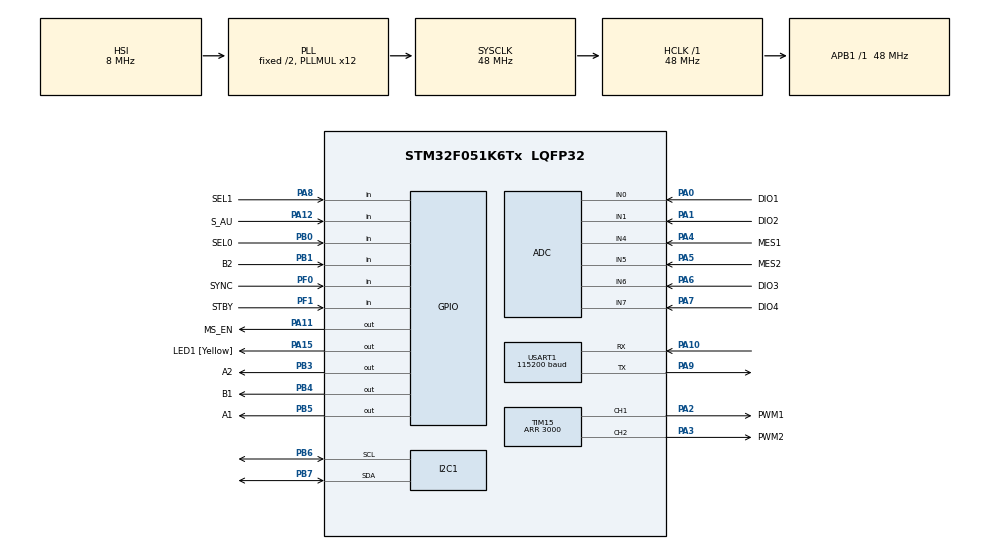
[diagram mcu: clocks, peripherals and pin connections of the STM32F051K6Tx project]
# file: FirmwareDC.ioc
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FREERTOS.INCLUDE_vTaskDelayUntil=1
FREERTOS.Tasks01=defaultTask,0,128,StartDefaultTask,Default,NULL,Dynamic,NULL,NULL;tracesTask,-3,128,StartTracesTask,Default,NULL,Dynamic,NULL,NULL;diagTask,-3,128,StartDiagTask,Default,NULL,Dynamic,NULL,NULL
FREERTOS.configCHECK_FOR_STACK_OVERFLOW=2
I2C1.SMBusOwnAddress=32
Mcu.Family=STM32F0
Mcu.Name=STM32F051K6Tx
Mcu.Package=LQFP32
NVIC.I2C1_IRQn=true\:3\:0\:false\:false\:true\:true\:true
PA0.GPIO_Label=DIO1
PA0.Signal=SharedStack_PA0
PA0.Stacked=true
PA1.GPIO_Label=DIO2
PA1.Signal=SharedStack_PA1
PA1.Stacked=true
PA10.Mode=Asynchronous
PA10.Signal=USART1_RX
PA11.GPIO_Label=MS_EN
PA11.Signal=GPIO_Output
PA12.GPIO_Label=S_AU
PA12.GPIO_PuPd=GPIO_NOPULL
PA12.Signal=GPIO_Input
PA15.GPIO_Label=LED1 [Yellow]
PA15.Signal=GPIO_Output
PA2.GPIO_Label=PWM1
PA2.GPIO_Speed=GPIO_SPEED_FREQ_MEDIUM
PA2.Signal=S_TIM15_CH1
PA3.GPIO_Label=PWM2
PA3.GPIO_Speed=GPIO_SPEED_FREQ_MEDIUM
PA3.Signal=S_TIM15_CH2
PA4.GPIO_Label=MES1
PA4.Mode=IN4
PA4.Signal=ADC_IN4
PA5.GPIO_Label=MES2
PA5.Mode=IN5
PA5.Signal=ADC_IN5
PA6.GPIO_Label=DIO3
PA6.Signal=SharedStack_PA6
PA6.Stacked=true
PA7.GPIO_Label=DIO4
PA7.Signal=SharedStack_PA7
PA7.Stacked=true
PA8.GPIO_Label=SEL1
PA8.Signal=GPIO_Input
PA9.Mode=Asynchronous
PA9.Signal=USART1_TX
PB0.GPIO_Label=SEL0
PB0.Signal=GPIO_Input
PB1.GPIO_Label=B2
PB1.GPIO_PuPd=GPIO_PULLUP
PB1.Signal=GPIO_Input
PB3.GPIO_Label=A2
PB3.Signal=GPIO_Output
PB4.GPIO_Label=B1
PB4.Signal=GPIO_Output
PB5.GPIO_Label=A1
PB5.Signal=GPIO_Output
PB6.Mode=SMBus-two-wire-Interface
PB6.Signal=I2C1_SCL
PB7.Mode=SMBus-two-wire-Interface
PB7.Signal=I2C1_SDA
PF0-OSC_IN.GPIO_Label=SYNC
PF0-OSC_IN.Signal=GPIO_Input
PF1-OSC_OUT.GPIO_Label=STBY
PF1-OSC_OUT.Signal=GPIO_Input
ProjectManager.HeapSize=0x200
ProjectManager.StackSize=0x400
ProjectManager.TargetToolchain=SW4STM32
RCC.AHBFreq_Value=48000000
RCC.APB1Freq_Value=48000000
RCC.APB1TimFreq_Value=48000000
RCC.HCLKFreq_Value=48000000
RCC.PLLMUL=RCC_PLL_MUL12
RCC.SYSCLKFreq_VALUE=48000000
RCC.SYSCLKSource=RCC_SYSCLKSOURCE_PLLCLK
SH.S_TIM15_CH1.0=TIM15_CH1,PWM Generation1 CH1
SH.S_TIM15_CH2.0=TIM15_CH2,PWM Generation2 CH2
SH.SharedStack_PA0.0=GPIO_Input+0
SH.SharedStack_PA0.1=GPIO_Output+0
SH.SharedStack_PA0.2=ADC_IN0,IN0
SH.SharedStack_PA0.3=GPIO_Analog
SH.SharedStack_PA0.4=TIM2_CH1
SH.SharedStack_PA1.0=GPIO_Input+0
SH.SharedStack_PA1.1=GPIO_Output+0
SH.SharedStack_PA1.2=ADC_IN1,IN1
SH.SharedStack_PA1.3=GPIO_Analog
SH.SharedStack_PA1.4=TIM2_CH2
SH.SharedStack_PA6.0=GPIO_Input+0
SH.SharedStack_PA6.1=GPIO_Output+0
SH.SharedStack_PA6.2=ADC_IN6,IN6
SH.SharedStack_PA6.3=GPIO_Analog
SH.SharedStack_PA6.4=TIM3_CH1
SH.SharedStack_PA7.0=GPIO_Input+0
SH.SharedStack_PA7.1=GPIO_Output+0
SH.SharedStack_PA7.2=ADC_IN7,IN7
SH.SharedStack_PA7.3=GPIO_Analog
SH.SharedStack_PA7.4=TIM3_CH2
TIM15.Channel-PWM\ Generation1\ CH1=TIM_CHANNEL_1
TIM15.Channel-PWM\ Generation2\ CH2=TIM_CHANNEL_2
TIM15.Period=3000
USART1.BaudRate=115200
USART1.VirtualMode-Asynchronous=VM_ASYNC
VP_FREERTOS_VS_ENABLE.Mode=Enabled
board=FirmwareDC

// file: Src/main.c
/**
  ******************************************************************************
  * @file           : main.c
  * @brief          : Main program body
  ******************************************************************************
  * This notice applies to any and all portions of this file
  * that are not between comment pairs USER CODE BEGIN and
  * USER CODE END. Other portions of this file, whether
  * inserted by the user or by software development tools
  * are owned by their respective copyright owners.
  *
  * Copyright (c) 2018 STMicroelectronics International N.V.
  * All rights reserved.
  *
  * Redistribution and use in source and binary forms, with or without
  * modification, are permitted, provided that the following conditions are met:
  *
  * 1. Redistribution of source code must retain the above copyright notice,
  *    this list of conditions and the following disclaimer.
  * 2. Redistributions in binary form must reproduce the above copyright notice,
  *    this list of conditions and the following disclaimer in the documentation
  *    and/or other materials provided with the distribution.
  * 3. Neither the name of STMicroelectronics nor the names of other
  *    contributors to this software may be used to endorse or promote products
  *    derived from this software without specific written permission.
  * 4. This software, including modifications and/or derivative works of this
  *    software, must execute solely and exclusively on microcontroller or
  *    microprocessor devices manufactured by or for STMicroelectronics.
  * 5. Redistribution and use of this software other than as permitted under
  *    this license is void and will automatically terminate your rights under
  *    this license.
  *
  * THIS SOFTWARE IS PROVIDED BY STMICROELECTRONICS AND CONTRIBUTORS "AS IS"
  * AND ANY EXPRESS, IMPLIED OR STATUTORY WARRANTIES, INCLUDING, BUT NOT
  * LIMITED TO, THE IMPLIED WARRANTIES OF MERCHANTABILITY, FITNESS FOR A
  * PARTICULAR PURPOSE AND NON-INFRINGEMENT OF THIRD PARTY INTELLECTUAL PROPERTY
  * RIGHTS ARE DISCLAIMED TO THE FULLEST EXTENT PERMITTED BY LAW. IN NO EVENT
  * SHALL STMICROELECTRONICS OR CONTRIBUTORS BE LIABLE FOR ANY DIRECT, INDIRECT,
  * INCIDENTAL, SPECIAL, EXEMPLARY, OR CONSEQUENTIAL DAMAGES (INCLUDING, BUT NOT
  * LIMITED TO, PROCUREMENT OF SUBSTITUTE GOODS OR SERVICES; LOSS OF USE, DATA,
  * OR PROFITS; OR BUSINESS INTERRUPTION) HOWEVER CAUSED AND ON ANY THEORY OF
  * LIABILITY, WHETHER IN CONTRACT, STRICT LIABILITY, OR TORT (INCLUDING
  * NEGLIGENCE OR OTHERWISE) ARISING IN ANY WAY OUT OF THE USE OF THIS SOFTWARE,
  * EVEN IF ADVISED OF THE POSSIBILITY OF SUCH DAMAGE.
  *
  ******************************************************************************
  */
#include "main.h"
#include "stm32f0xx_hal.h"
#include "cmsis_os.h"
#include "adc.h"
#include "i2c.h"
#include "tim.h"
#include "usart.h"
#include "gpio.h"

/* USER CODE BEGIN Includes */
#include "smbus2.h"

/* USER CODE END Includes */

/* USER CODE BEGIN PV */
/* Private variables ---------------------------------------------------------*/

/* USER CODE END PV */

void SystemClock_Config(void);
void MX_FREERTOS_Init(void);

/* USER CODE BEGIN PFP */
/* Private function prototypes -----------------------------------------------*/

/* USER CODE END PFP */

int main(void)
{
  /* USER CODE BEGIN 1 */
  extern char end asm("end");
  extern char estack asm("_estack");
  static char *heap_start = &end;
  static char *ram_end = &estack;

  /* USER CODE END 1 */

  /* MCU Configuration----------------------------------------------------------*/

  /* Reset of all peripherals, Initializes the Flash interface and the Systick. */
  HAL_Init();

  /* Configure the system clock */
  SystemClock_Config();

  /* Initialize all configured peripherals */
  MX_GPIO_Init();
  MX_ADC_Init();
  MX_I2C1_SMBUS_Init();
  MX_TIM15_Init();
  MX_USART1_UART_Init();
  /* USER CODE BEGIN 2 */
  smbus2_Init(&hsmbus1);

  // TU TU TU TU TU TU TU TU TU TU
  HAL_GPIO_WritePin(A1_GPIO_Port, A1_Pin, GPIO_PIN_SET);
  HAL_GPIO_WritePin(B1_GPIO_Port, B1_Pin, GPIO_PIN_SET);
  HAL_GPIO_WritePin(A2_GPIO_Port, A2_Pin, GPIO_PIN_SET);

  //Pin PB1 soit B2 est collИ au 0V
//  HAL_GPIO_WritePin(B2_GPIO_Port, B2_Pin, GPIO_PIN_SET);
  volatile GPIO_PinState b2 = HAL_GPIO_ReadPin(B2_GPIO_Port, B2_Pin);

  HAL_GPIO_ReadPin(DIO1_GPIO_Port, DIO1_Pin);
  HAL_GPIO_ReadPin(DIO2_GPIO_Port, DIO2_Pin);
  HAL_GPIO_ReadPin(DIO3_GPIO_Port, DIO3_Pin);
  HAL_GPIO_ReadPin(DIO4_GPIO_Port, DIO4_Pin);
  // FIN TU TU TU TU TU TU TU TU TU

  // Welcome
  printf("FirmwareDC (" __DATE__ " - " __TIME__ ")\r\n");
  printf("  heap_start = %p\r\n", heap_start);
  printf("  ram_end    = %p\r\n", ram_end);

  /* USER CODE END 2 */

  /* Call init function for freertos objects (in freertos.c) */
  MX_FREERTOS_Init();

  /* Start scheduler */
  osKernelStart();

  /* We should never get here as control is now taken by the scheduler */

  /* Infinite loop */
  while (1)
  {

  }

}

void SystemClock_Config(void)
{

  RCC_OscInitTypeDef RCC_OscInitStruct;
  RCC_ClkInitTypeDef RCC_ClkInitStruct;
  RCC_PeriphCLKInitTypeDef PeriphClkInit;

    /**Initializes the CPU, AHB and APB busses clocks
    */
  RCC_OscInitStruct.OscillatorType = RCC_OSCILLATORTYPE_HSI|RCC_OSCILLATORTYPE_HSI14;
  RCC_OscInitStruct.HSIState = RCC_HSI_ON;
  RCC_OscInitStruct.HSI14State = RCC_HSI14_ON;
  RCC_OscInitStruct.HSICalibrationValue = 16;
  RCC_OscInitStruct.HSI14CalibrationValue = 16;
  RCC_OscInitStruct.PLL.PLLState = RCC_PLL_ON;
  RCC_OscInitStruct.PLL.PLLSource = RCC_PLLSOURCE_HSI;
  RCC_OscInitStruct.PLL.PLLMUL = RCC_PLL_MUL12;
  RCC_OscInitStruct.PLL.PREDIV = RCC_PREDIV_DIV1;
  if (HAL_RCC_OscConfig(&RCC_OscInitStruct) != HAL_OK)
  {
    _Error_Handler(__FILE__, __LINE__);
  }

    /**Initializes the CPU, AHB and APB busses clocks
    */
  RCC_ClkInitStruct.ClockType = RCC_CLOCKTYPE_HCLK|RCC_CLOCKTYPE_SYSCLK
                              |RCC_CLOCKTYPE_PCLK1;
  RCC_ClkInitStruct.SYSCLKSource = RCC_SYSCLKSOURCE_PLLCLK;
  RCC_ClkInitStruct.AHBCLKDivider = RCC_SYSCLK_DIV1;
  RCC_ClkInitStruct.APB1CLKDivider = RCC_HCLK_DIV1;

  if (HAL_RCC_ClockConfig(&RCC_ClkInitStruct, FLASH_LATENCY_1) != HAL_OK)
  {
    _Error_Handler(__FILE__, __LINE__);
  }

  PeriphClkInit.PeriphClockSelection = RCC_PERIPHCLK_USART1|RCC_PERIPHCLK_I2C1;
  PeriphClkInit.Usart1ClockSelection = RCC_USART1CLKSOURCE_PCLK1;
  PeriphClkInit.I2c1ClockSelection = RCC_I2C1CLKSOURCE_HSI;
  if (HAL_RCCEx_PeriphCLKConfig(&PeriphClkInit) != HAL_OK)
  {
    _Error_Handler(__FILE__, __LINE__);
  }

    /**Configure the Systick interrupt time
    */
  HAL_SYSTICK_Config(HAL_RCC_GetHCLKFreq()/1000);

    /**Configure the Systick
    */
  HAL_SYSTICK_CLKSourceConfig(SYSTICK_CLKSOURCE_HCLK);

  /* SysTick_IRQn interrupt configuration */
  HAL_NVIC_SetPriority(SysTick_IRQn, 3, 0);
}

void _Error_Handler(char *file, int line)
{
  while(1)
  {
  }
}

/************************ (C) COPYRIGHT STMicroelectronics *****END OF FILE****/

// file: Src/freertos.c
/**
  ******************************************************************************
  * File Name          : freertos.c
  * Description        : Code for freertos applications
  ******************************************************************************
  * This notice applies to any and all portions of this file
  * that are not between comment pairs USER CODE BEGIN and
  * USER CODE END. Other portions of this file, whether
  * inserted by the user or by software development tools
  * are owned by their respective copyright owners.
  *
  * Copyright (c) 2018 STMicroelectronics International N.V.
  * All rights reserved.
  *
  * Redistribution and use in source and binary forms, with or without
  * modification, are permitted, provided that the following conditions are met:
  *
  * 1. Redistribution of source code must retain the above copyright notice,
  *    this list of conditions and the following disclaimer.
  * 2. Redistributions in binary form must reproduce the above copyright notice,
  *    this list of conditions and the following disclaimer in the documentation
  *    and/or other materials provided with the distribution.
  * 3. Neither the name of STMicroelectronics nor the names of other
  *    contributors to this software may be used to endorse or promote products
  *    derived from this software without specific written permission.
  * 4. This software, including modifications and/or derivative works of this
  *    software, must execute solely and exclusively on microcontroller or
  *    microprocessor devices manufactured by or for STMicroelectronics.
  * 5. Redistribution and use of this software other than as permitted under
  *    this license is void and will automatically terminate your rights under
  *    this license.
  *
  * THIS SOFTWARE IS PROVIDED BY STMICROELECTRONICS AND CONTRIBUTORS "AS IS"
  * AND ANY EXPRESS, IMPLIED OR STATUTORY WARRANTIES, INCLUDING, BUT NOT
  * LIMITED TO, THE IMPLIED WARRANTIES OF MERCHANTABILITY, FITNESS FOR A
  * PARTICULAR PURPOSE AND NON-INFRINGEMENT OF THIRD PARTY INTELLECTUAL PROPERTY
  * RIGHTS ARE DISCLAIMED TO THE FULLEST EXTENT PERMITTED BY LAW. IN NO EVENT
  * SHALL STMICROELECTRONICS OR CONTRIBUTORS BE LIABLE FOR ANY DIRECT, INDIRECT,
  * INCIDENTAL, SPECIAL, EXEMPLARY, OR CONSEQUENTIAL DAMAGES (INCLUDING, BUT NOT
  * LIMITED TO, PROCUREMENT OF SUBSTITUTE GOODS OR SERVICES; LOSS OF USE, DATA,
  * OR PROFITS; OR BUSINESS INTERRUPTION) HOWEVER CAUSED AND ON ANY THEORY OF
  * LIABILITY, WHETHER IN CONTRACT, STRICT LIABILITY, OR TORT (INCLUDING
  * NEGLIGENCE OR OTHERWISE) ARISING IN ANY WAY OUT OF THE USE OF THIS SOFTWARE,
  * EVEN IF ADVISED OF THE POSSIBILITY OF SUCH DAMAGE.
  *
  ******************************************************************************
  */

#include "FreeRTOS.h"
#include "task.h"
#include "cmsis_os.h"

/* USER CODE BEGIN Includes */
#include "main.h"
#include "stm32f0xx_hal.h"
#include "usart.h"

#include "traces.h"
#include "status.h"

/* USER CODE END Includes */

osThreadId defaultTaskHandle;
osThreadId tracesTaskHandle;
osThreadId diagTaskHandle;

void StartDefaultTask(void const * argument);
void StartTracesTask(void const * argument);
void StartDiagTask(void const * argument);

void MX_FREERTOS_Init(void); /* (MISRA C 2004 rule 8.1) */

/* Hook prototypes */
void vApplicationStackOverflowHook(xTaskHandle xTask, signed char *pcTaskName);

/* USER CODE BEGIN 4 */
__weak void vApplicationStackOverflowHook(xTaskHandle xTask, signed char *pcTaskName)
{
   /* Run time stack overflow checking is performed if
   configCHECK_FOR_STACK_OVERFLOW is defined to 1 or 2. This hook function is
   called if a stack overflow is detected. */
}
/* USER CODE END 4 */

/* Init FreeRTOS */

void MX_FREERTOS_Init(void) {

  /* Create the thread(s) */
  /* definition and creation of defaultTask */
  osThreadDef(defaultTask, StartDefaultTask, osPriorityNormal, 0, 128);
  defaultTaskHandle = osThreadCreate(osThread(defaultTask), NULL);

  /* definition and creation of tracesTask */
  osThreadDef(tracesTask, StartTracesTask, osPriorityIdle, 0, 128);
  tracesTaskHandle = osThreadCreate(osThread(tracesTask), NULL);

  /* definition and creation of diagTask */
  osThreadDef(diagTask, StartDiagTask, osPriorityIdle, 0, 128);
  diagTaskHandle = osThreadCreate(osThread(diagTask), NULL);

}

/* StartDefaultTask function */
void StartDefaultTask(void const * argument)
{

  /* USER CODE BEGIN StartDefaultTask */
  /* Infinite loop */
  for(;;)
  {
	osDelay(1000);
  }
  /* USER CODE END StartDefaultTask */
}

/* StartTracesTask function */
void StartTracesTask(void const * argument)
{
  /* USER CODE BEGIN StartTracesTask */
  Traces_Init(&huart1);
  /* Infinite loop */
  for(;;)
  {
    osDelay(1);
    Traces_Process();
  }
  /* USER CODE END StartTracesTask */
}

/* StartDiagTask function */
void StartDiagTask(void const * argument)
{
  /* USER CODE BEGIN StartDiagTask */
  Status_Init(LED1_GPIO_Port, LED1_Pin);
  /* Infinite loop */
  for(;;)
  {
	Status_Process(xTaskGetTickCount());
    osDelay(10);
  }
  /* USER CODE END StartDiagTask */
}

/************************ (C) COPYRIGHT STMicroelectronics *****END OF FILE****/
